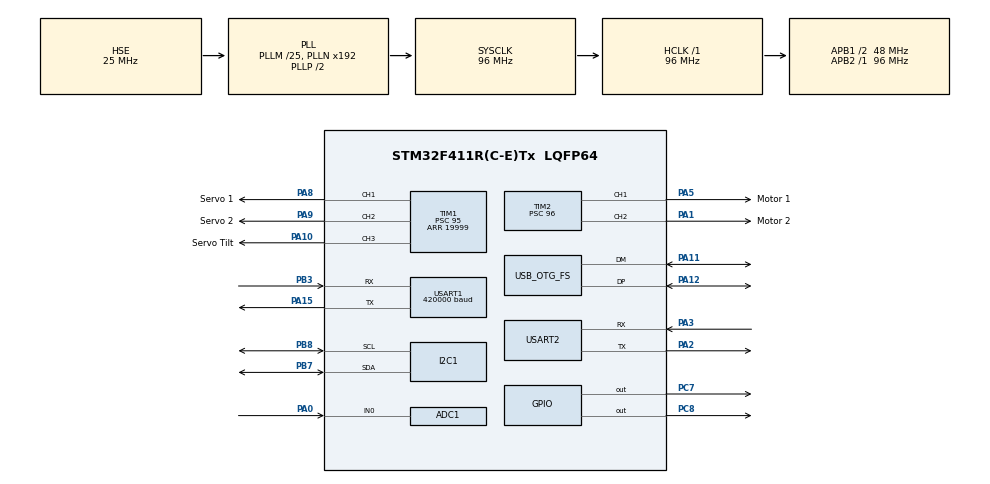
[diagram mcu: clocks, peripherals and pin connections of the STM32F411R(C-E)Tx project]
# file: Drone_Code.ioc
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ADC1.Channel-9\#ChannelRegularConversion=ADC_CHANNEL_0
ADC1.NbrOfConversionFlag=1
ADC1.Rank-9\#ChannelRegularConversion=1
ADC1.SamplingTime-9\#ChannelRegularConversion=ADC_SAMPLETIME_3CYCLES
ADC1.master=1
Dma.Request0=USART1_RX
Dma.USART1_RX.0.Direction=DMA_PERIPH_TO_MEMORY
Dma.USART1_RX.0.FIFOMode=DMA_FIFOMODE_DISABLE
Dma.USART1_RX.0.Instance=DMA2_Stream2
Dma.USART1_RX.0.MemDataAlignment=DMA_MDATAALIGN_BYTE
Dma.USART1_RX.0.MemInc=DMA_MINC_ENABLE
Dma.USART1_RX.0.Mode=DMA_CIRCULAR
Dma.USART1_RX.0.PeriphDataAlignment=DMA_PDATAALIGN_BYTE
Dma.USART1_RX.0.PeriphInc=DMA_PINC_DISABLE
Dma.USART1_RX.0.Priority=DMA_PRIORITY_LOW
FREERTOS.Tasks01=defaultTask,24,128,StartDefaultTask,Default,NULL,Dynamic,NULL,NULL
Mcu.Family=STM32F4
Mcu.Name=STM32F411R(C-E)Tx
Mcu.Package=LQFP64
NVIC.DMA2_Stream2_IRQn=true\:5\:0\:false\:false\:true\:true\:false\:true\:true
NVIC.OTG_FS_IRQn=true\:5\:0\:false\:false\:true\:true\:false\:true\:true
NVIC.PriorityGroup=NVIC_PRIORITYGROUP_4
NVIC.USART1_IRQn=true\:5\:0\:false\:false\:true\:true\:true\:true\:true
PA0-WKUP.Signal=ADCx_IN0
PA1.GPIO_Label=Motor 2
PA1.Signal=S_TIM2_CH2
PA10.GPIO_Label=Servo Tilt
PA10.Signal=S_TIM1_CH3
PA11.Mode=Device_Only
PA11.Signal=USB_OTG_FS_DM
PA12.Mode=Device_Only
PA12.Signal=USB_OTG_FS_DP
PA13.Mode=Serial_Wire
PA13.Signal=SYS_JTMS-SWDIO
PA14.Mode=Serial_Wire
PA14.Signal=SYS_JTCK-SWCLK
PA15.Mode=Asynchronous
PA15.Signal=USART1_TX
PA2.Mode=Asynchronous
PA2.Signal=USART2_TX
PA3.Mode=Asynchronous
PA3.Signal=USART2_RX
PA5.GPIO_Label=Motor 1
PA5.Signal=S_TIM2_CH1_ETR
PA8.GPIO_Label=Servo 1
PA8.Signal=S_TIM1_CH1
PA9.GPIO_Label=Servo 2
PA9.Signal=S_TIM1_CH2
PB3.Mode=Asynchronous
PB3.Signal=USART1_RX
PB7.Mode=I2C
PB7.Signal=I2C1_SDA
PB8.Mode=I2C
PB8.Signal=I2C1_SCL
PC7.Signal=GPIO_Output
PC8.Signal=GPIO_Output
PH0\ -\ OSC_IN.Mode=HSE-External-Oscillator
PH0\ -\ OSC_IN.Signal=RCC_OSC_IN
PH1\ -\ OSC_OUT.Mode=HSE-External-Oscillator
PH1\ -\ OSC_OUT.Signal=RCC_OSC_OUT
ProjectManager.HeapSize=0x200
ProjectManager.StackSize=0x400
ProjectManager.TargetToolchain=Makefile
RCC.48MHZClocksFreq_Value=48000000
RCC.AHBFreq_Value=96000000
RCC.APB1CLKDivider=RCC_HCLK_DIV2
RCC.APB1Freq_Value=48000000
RCC.APB1TimFreq_Value=96000000
RCC.APB2Freq_Value=96000000
RCC.APB2TimFreq_Value=96000000
RCC.CortexFreq_Value=96000000
RCC.HCLKFreq_Value=96000000
RCC.HSE_VALUE=25000000
RCC.HSI_VALUE=16000000
RCC.LSE_VALUE=32768
RCC.PLLM=25
RCC.SYSCLKFreq_VALUE=96000000
RCC.SYSCLKSource=RCC_SYSCLKSOURCE_PLLCLK
RCC.VCOOutputFreq_Value=192000000
SH.ADCx_IN0.0=ADC1_IN0,IN0
SH.S_TIM1_CH1.0=TIM1_CH1,PWM Generation1 CH1
SH.S_TIM1_CH2.0=TIM1_CH2,PWM Generation2 CH2
SH.S_TIM1_CH3.0=TIM1_CH3,PWM Generation3 CH3
SH.S_TIM2_CH1_ETR.0=TIM2_CH1,PWM Generation1 CH1
SH.S_TIM2_CH2.0=TIM2_CH2,PWM Generation2 CH2
TIM1.Channel-PWM\ Generation1\ CH1=TIM_CHANNEL_1
TIM1.Channel-PWM\ Generation2\ CH2=TIM_CHANNEL_2
TIM1.Channel-PWM\ Generation3\ CH3=TIM_CHANNEL_3
TIM1.Period=19999
TIM1.Prescaler=95
TIM2.Channel-PWM\ Generation1\ CH1=TIM_CHANNEL_1
TIM2.Channel-PWM\ Generation2\ CH2=TIM_CHANNEL_2
TIM2.Period=100
TIM2.Prescaler=96
USART1.BaudRate=420000
USART1.VirtualMode=VM_ASYNC
USART2.VirtualMode=VM_ASYNC
USB_DEVICE.CLASS_NAME_FS=CDC
USB_DEVICE.VirtualMode=Cdc
USB_DEVICE.VirtualModeFS=Cdc_FS
USB_OTG_FS.VirtualMode=Device_Only
VP_FREERTOS_VS_CMSIS_V2.Mode=CMSIS_V2
VP_TIM1_VS_ClockSourceINT.Mode=Internal
VP_TIM2_VS_ClockSourceINT.Mode=Internal
VP_USB_DEVICE_VS_USB_DEVICE_CDC_FS.Mode=CDC_FS
board=custom

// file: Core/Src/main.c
/* USER CODE BEGIN Header */
/**
  ******************************************************************************
  * @file           : main.c
  * @brief          : Main program body
  ******************************************************************************
  * @attention
  *
  * Copyright (c) 2026 STMicroelectronics.
  * All rights reserved.
  *
  * This software is licensed under terms that can be found in the LICENSE file
  * in the root directory of this software component.
  * If no LICENSE file comes with this software, it is provided AS-IS.
  *
  ******************************************************************************
  */
/* USER CODE END Header */
#include "main.h"
#include "cmsis_os.h"
#include "adc.h"
#include "dma.h"
#include "i2c.h"
#include "tim.h"
#include "usart.h"
#include "usb_device.h"
#include "gpio.h"

void SystemClock_Config(void);
void MX_FREERTOS_Init(void);

int main(void)
{

  /* MCU Configuration--------------------------------------------------------*/

  /* Reset of all peripherals, Initializes the Flash interface and the Systick. */
  HAL_Init();

  /* Configure the system clock */
  SystemClock_Config();

  /* Initialize all configured peripherals */
  MX_GPIO_Init();
  MX_DMA_Init();
  MX_ADC1_Init();
  MX_I2C1_Init();
  MX_USART1_UART_Init();
  MX_TIM1_Init();
  MX_TIM2_Init();
  MX_USART2_UART_Init();
  /* USER CODE BEGIN 2 */
  MX_USB_DEVICE_Init();
  /* USER CODE END 2 */

  /* Init scheduler */
  osKernelInitialize();  /* Call init function for freertos objects (in cmsis_os2.c) */
  MX_FREERTOS_Init();

  /* Start scheduler */
  osKernelStart();

  /* We should never get here as control is now taken by the scheduler */

  /* Infinite loop */
  while (1)
  {

  }
}

void SystemClock_Config(void)
{
  RCC_OscInitTypeDef RCC_OscInitStruct = {0};
  RCC_ClkInitTypeDef RCC_ClkInitStruct = {0};

  /** Configure the main internal regulator output voltage
  */
  __HAL_RCC_PWR_CLK_ENABLE();
  __HAL_PWR_VOLTAGESCALING_CONFIG(PWR_REGULATOR_VOLTAGE_SCALE1);

  /** Initializes the RCC Oscillators according to the specified parameters
  * in the RCC_OscInitTypeDef structure.
  */
  RCC_OscInitStruct.OscillatorType = RCC_OSCILLATORTYPE_HSE;
  RCC_OscInitStruct.HSEState = RCC_HSE_ON;
  RCC_OscInitStruct.PLL.PLLState = RCC_PLL_ON;
  RCC_OscInitStruct.PLL.PLLSource = RCC_PLLSOURCE_HSE;
  RCC_OscInitStruct.PLL.PLLM = 25;
  RCC_OscInitStruct.PLL.PLLN = 192;
  RCC_OscInitStruct.PLL.PLLP = RCC_PLLP_DIV2;
  RCC_OscInitStruct.PLL.PLLQ = 4;
  if (HAL_RCC_OscConfig(&RCC_OscInitStruct) != HAL_OK)
  {
    Error_Handler();
  }

  /** Initializes the CPU, AHB and APB buses clocks
  */
  RCC_ClkInitStruct.ClockType = RCC_CLOCKTYPE_HCLK|RCC_CLOCKTYPE_SYSCLK
                              |RCC_CLOCKTYPE_PCLK1|RCC_CLOCKTYPE_PCLK2;
  RCC_ClkInitStruct.SYSCLKSource = RCC_SYSCLKSOURCE_PLLCLK;
  RCC_ClkInitStruct.AHBCLKDivider = RCC_SYSCLK_DIV1;
  RCC_ClkInitStruct.APB1CLKDivider = RCC_HCLK_DIV2;
  RCC_ClkInitStruct.APB2CLKDivider = RCC_HCLK_DIV1;

  if (HAL_RCC_ClockConfig(&RCC_ClkInitStruct, FLASH_LATENCY_3) != HAL_OK)
  {
    Error_Handler();
  }
}

void Error_Handler(void)
{
  __disable_irq();
  while (1)
  {
  }
}

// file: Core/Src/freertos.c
/* USER CODE BEGIN Header */
/**
  ******************************************************************************
  * File Name          : freertos.c
  * Description        : Code for freertos applications
  ******************************************************************************
  * @attention
  *
  * Copyright (c) 2026 STMicroelectronics.
  * All rights reserved.
  *
  * This software is licensed under terms that can be found in the LICENSE file
  * in the root directory of this software component.
  * If no LICENSE file comes with this software, it is provided AS-IS.
  *
  ******************************************************************************
  */
/* USER CODE END Header */

#include "FreeRTOS.h"
#include "stm32f4xx_hal.h"
#include "task.h"
#include "main.h"
#include "cmsis_os.h"

/* USER CODE BEGIN Includes */
#include <string.h>
#include <stdio.h>
#include "tim.h"
#include "usbd_cdc_if.h"
#include "crsf.h"
#include "motor_control.h"
#include <stdarg.h>
#include "icm42605.h"
#include "mmc5603nj.h"
#include "imu_math.h"
#include "lpf.h"
/* USER CODE END Includes */

/* USER CODE BEGIN PD */
// Define fixed update period (e.g., 2ms = 500 Hz loop)
#define IMU_TASK_FREQ      200 // Hz
#define IMU_TASK_PERIOD_MS (1000 / IMU_TASK_FREQ) // 5 ms
#define DT_SECONDS         (1.0f / (float)IMU_TASK_FREQ) // 0.005f seconds

#define RED_LED_PIN    GPIO_PIN_7
#define GREEN_LED_PIN  GPIO_PIN_8
#define LED_PORT       GPIOC

#define MAX_PITCH 30 // degrees absolute value so -30 to 30
#define MAX_ROLL 30  // degrees absolute value so -30 to 30
#define MAX_YAW 200    // degrees per second

#define LPF_CUTOFF 25.0f
/* USER CODE END PD */

/* USER CODE BEGIN Variables */
osThreadId_t receiverTaskHandle;
const osThreadAttr_t receiverTask_attributes = {
  .name = "receiverTask",
  .stack_size = 1024 * 4,
  .priority = (osPriority_t) osPriorityNormal,
};

osThreadId_t servoTaskHandle;
const osThreadAttr_t servoTask_attributes = {
  .name = "servoTask",
  .stack_size = 128 * 4,
  .priority = (osPriority_t) osPriorityNormal,
};

osThreadId_t imuTaskHandle;
const osThreadAttr_t imuTask_attributes = {
  .name = "imuTask",
  .stack_size = 512 * 4,
  .priority = (osPriority_t) osPriorityNormal, // Elevated to prevent priority inversion
};

osThreadId_t pidTaskHandle;
const osThreadAttr_t pidTask_attributes = {
  .name = "pidTask",
  .stack_size = 512 * 4,
  .priority = (osPriority_t) osPriorityNormal, // High priority for deterministic control
};

osMessageQueueId_t imuAttitudeQueueHandle;
osMessageQueueId_t rcCommandQueueHandle;

// Struct for normalized RC Pilot Commands (-1.0 to 1.0 or target angles)
typedef struct {
    float roll_setpoint;     // Target Roll angle (degrees)
    float pitch_setpoint;    // Target Pitch angle (degrees)
    float yaw_rate_setpoint; // Target Yaw rate (deg/s)
    float throttle;          // 0.0 to 1.0 (0% to 100% thrust)
    float yaw_kp;
    uint8_t armed;           // Safety switch state
} ControlSetpoint_t;

volatile uint32_t g_last_rc_tick = 0;

#define RC_FAILSAFE_TIMEOUT_MS 500U

volatile uint32_t g_uart_error_count = 0;
volatile uint32_t g_mag_error_count = 0;

#define ROLL_TRIM_TICKS -100
#define PITCH_TRIM_TICKS 0

#define ROLL_KP   9.0f
#define ROLL_KI   0.5f
#define ROLL_KD   0.0f

#define PITCH_KP  9.0f
#define PITCH_KI  0.5f
#define PITCH_KD  0.0f

#define YAW_KP    2.5f
#define YAW_KI    0.5f
#define YAW_KD    0.1f

#define SERVO_PID_OUTPUT_LIMIT  1000.0f
#define YAW_PID_OUTPUT_LIMIT    1200.0f

#define ESC_MIN_PCT_DEFAULT 0.10f
volatile float g_esc_min_pct = ESC_MIN_PCT_DEFAULT;

typedef struct
{
    float kp;
    float ki;
    float kd;
    float integral;
    float prev_error;
    float output_limit;
    uint8_t initialized;
} PID_Controller_t;

extern UART_HandleTypeDef huart1;
extern DMA_HandleTypeDef hdma_usart1_rx;

extern ADC_HandleTypeDef hadc1;

uint8_t uart_rx_buffer[64];
volatile uint16_t uart_rx_flag = 0;

volatile uint32_t g_shared_voltage_mv = 0;
volatile uint8_t g_shared_battery_pct = 0;

volatile float g_yaw_trim = 5.0f; // Trim adjustment between -1.0 and 1.0 to balance motor

extern TIM_HandleTypeDef htim1, htim2;  // Defined in tim.c

extern I2C_HandleTypeDef hi2c1;

ICM42605_t g_imu;
MMC5603NJ_t g_mag;
IMU_Attitude_t g_attitude;

char usb_output_buffer[256];

Motor spitch, sroll, rotorup, rotordown; // RotorUp is CCW, RotorDown is CW
/* USER CODE END Variables */
/* Definitions for defaultTask */
osThreadId_t defaultTaskHandle;
const osThreadAttr_t defaultTask_attributes = {
  .name = "defaultTask",
  .stack_size = 512 * 4,
  .priority = (osPriority_t) osPriorityNormal,
};

/* USER CODE BEGIN FunctionPrototypes */
void StartReceiverTask(void *argument);
void StartServoTask(void *argument);
void startImuTask(void *argument);
void usb_send(const char *format, ...);
void StartPidTask(void *argument);
static float map_float(float x, float in_min, float in_max, float out_min, float out_max);
static float pid_compute(PID_Controller_t *pid, float error, float dt);
static void pid_init(PID_Controller_t *pid, float kp, float ki, float kd, float output_limit);
/* USER CODE END FunctionPrototypes */

void StartDefaultTask(void *argument);

extern void MX_USB_DEVICE_Init(void);
void MX_FREERTOS_Init(void); /* (MISRA C 2004 rule 8.1) */

void MX_FREERTOS_Init(void) {
  /* USER CODE BEGIN Init */
  MX_USB_DEVICE_Init();
  /* USER CODE END Init */

  /* USER CODE BEGIN RTOS_QUEUES */
  // Queue depth = 1 (holds only the latest attitude calculation)
  imuAttitudeQueueHandle = osMessageQueueNew(1, sizeof(IMU_Attitude_t), NULL);

  // Queue holding only the latest 1 RC Setpoint (length = 1)
  rcCommandQueueHandle = osMessageQueueNew(1, sizeof(ControlSetpoint_t), NULL);
  /* USER CODE END RTOS_QUEUES */

  /* Create the thread(s) */
  /* creation of defaultTask */
  defaultTaskHandle = osThreadNew(StartDefaultTask, NULL, &defaultTask_attributes);

  /* USER CODE BEGIN RTOS_THREADS */
  receiverTaskHandle = osThreadNew(StartReceiverTask, NULL, &receiverTask_attributes);
  servoTaskHandle = osThreadNew(StartServoTask, NULL, &servoTask_attributes);
  imuTaskHandle = osThreadNew(startImuTask, NULL, &imuTask_attributes);
  pidTaskHandle = osThreadNew(StartPidTask, NULL, &pidTask_attributes);
  /* USER CODE END RTOS_THREADS */

}

void StartDefaultTask(void *argument)
{
  osDelay(2500); // Wait for USB enumeration
  uint32_t lastBlinkTick = osKernelGetTickCount();

  // Ensure LEDs start OFF by default (HIGH for active-low)
  HAL_GPIO_WritePin(LED_PORT, RED_LED_PIN, GPIO_PIN_SET);
  HAL_GPIO_WritePin(LED_PORT, GREEN_LED_PIN, GPIO_PIN_SET);

  /* Infinite loop */
  for(;;)
  {
    HAL_ADC_Start(&hadc1);
    if (HAL_ADC_PollForConversion(&hadc1, 10) == HAL_OK)
    {
      uint32_t adc_value = HAL_ADC_GetValue(&hadc1);

      float battery_voltage = ((float)adc_value / 4095.0f) * 3.3f * (133.0f / 33.0f);
      uint32_t voltage_mv = (uint32_t)(battery_voltage * 1000.0f);

      usb_send("Battery Voltage: %lu.%luV (ADC: %lu)\r\n", voltage_mv / 1000, voltage_mv % 1000, adc_value);

      uint8_t battery_pct = 0;

      if (voltage_mv >= 12600) {
        battery_pct = 100;
      } else if (voltage_mv <= 10000) {
        battery_pct = 0;
      } else {
        battery_pct = (uint8_t)(((float)(voltage_mv - 10000.0f) / (12600.0f - 10000.0f)) * 100.0f);
      }

      g_shared_voltage_mv = voltage_mv;
      g_shared_battery_pct = battery_pct;

      // Warning threshold set directly to 11.0V (11000 mV)
      if (voltage_mv < 11000) {
        if ((osKernelGetTickCount() - lastBlinkTick) >= 250) {
          HAL_GPIO_TogglePin(LED_PORT, RED_LED_PIN);
          lastBlinkTick = osKernelGetTickCount();
        }
      } else {
        // Voltage is safe: force Red LED completely OFF (SET = HIGH = OFF)
        HAL_GPIO_WritePin(LED_PORT, RED_LED_PIN, GPIO_PIN_SET);
        lastBlinkTick = osKernelGetTickCount();
      }
    }
    HAL_ADC_Stop(&hadc1);

    osDelay(1000);
  }
}

/* USER CODE BEGIN Application */
void StartServoTask(void *argument)
{
  // Initialize servos
  motor_Init(&spitch, SERVO_MID_PULSE_TICKS + PITCH_TRIM_TICKS, SERVO_MIN_PULSE_TICKS + PITCH_TRIM_TICKS, SERVO_MAX_PULSE_TICKS + PITCH_TRIM_TICKS, &htim1, TIM_CHANNEL_1);
  motor_Init(&sroll, SERVO_MID_PULSE_TICKS + ROLL_TRIM_TICKS, SERVO_MIN_PULSE_TICKS + ROLL_TRIM_TICKS, SERVO_MAX_PULSE_TICKS + ROLL_TRIM_TICKS, &htim1, TIM_CHANNEL_2);

  // Initialize ESCs
  motor_Init(&rotorup, ESC_MIN_PULSE_TICKS, ESC_MIN_PULSE_TICKS, ESC_MAX_PULSE_TICKS, &htim2, TIM_CHANNEL_1);
  motor_Init(&rotordown,  ESC_MIN_PULSE_TICKS, ESC_MIN_PULSE_TICKS, ESC_MAX_PULSE_TICKS, &htim2, TIM_CHANNEL_2);

  motor_Start(&spitch);
  motor_Start(&sroll);
  motor_Start(&rotorup);
  motor_Start(&rotordown);

  for (;;) {
      osDelay(1000);
  }
}

void StartReceiverTask(void *argument)
{
    crsf_frame_t crsf_frame;
    crsf_rc_channels_packed_t rc_channels;
    uint32_t last_green_toggle_tick = 0;
    static uint32_t telemetry_counter = 0;

    osDelay(3000);
    usb_send("Receiver task started and active\r\n");

    // Green LED OFF
    HAL_GPIO_WritePin(LED_PORT, GREEN_LED_PIN, GPIO_PIN_SET);

    // Start UART DMA reception
    HAL_StatusTypeDef uart_status = HAL_UARTEx_ReceiveToIdle_DMA(&huart1, uart_rx_buffer, sizeof(uart_rx_buffer));
    __HAL_DMA_DISABLE_IT(&hdma_usart1_rx, DMA_IT_HT);

    if (uart_status != HAL_OK)
    {
        usb_send("ERROR: Initial UART RX start failed: %d\r\n", uart_status);
    }

    g_last_rc_tick = osKernelGetTickCount();

    for (;;)
    {
        uint32_t notificationValue = ulTaskNotifyTake(pdTRUE, pdMS_TO_TICKS(100));

        uint32_t now = osKernelGetTickCount();
        if ((now - g_last_rc_tick) > pdMS_TO_TICKS(RC_FAILSAFE_TIMEOUT_MS))
        {
            HAL_GPIO_WritePin(LED_PORT, GREEN_LED_PIN, GPIO_PIN_SET);
            last_green_toggle_tick = 0;
        }

        if ((notificationValue > 0) && (uart_rx_flag > 0))
        {
            uint16_t rx_size = uart_rx_flag;
            uart_rx_flag = 0;

            // Inside StartReceiverTask loop:
            if (huart1.RxState != HAL_UART_STATE_READY)
            {
                HAL_UART_AbortReceive(&huart1);
            }

            uart_status = HAL_UARTEx_ReceiveToIdle_DMA(&huart1, uart_rx_buffer, sizeof(uart_rx_buffer));
            __HAL_DMA_DISABLE_IT(&hdma_usart1_rx, DMA_IT_HT);

            if (uart_status != HAL_OK)
            {
                usb_send("ERROR: UART RX restart failed: %d\r\n", uart_status);
            }

            if (crsf_parse_frame(uart_rx_buffer, rx_size, &crsf_frame))
            {
                g_last_rc_tick = osKernelGetTickCount();

                if ((g_last_rc_tick - last_green_toggle_tick) >= pdMS_TO_TICKS(250))
                {
                    HAL_GPIO_TogglePin(LED_PORT, GREEN_LED_PIN);
                    last_green_toggle_tick = g_last_rc_tick;
                }

                telemetry_counter++;
                if (telemetry_counter >= 64)
                {
                    telemetry_counter = 0;
                    uint8_t tx_buf[16];
                    uint8_t tx_size = 0;

                    if (crsf_generate_battery_frame((uint16_t)g_shared_voltage_mv, 0, 0, g_shared_battery_pct, tx_buf, &tx_size))
                    {
                        HAL_UART_Transmit(&huart1, tx_buf, tx_size, 10);
                    }
                }

                if (crsf_frame.frame_type == CRSF_FRAME_RC_CHANNELS_PACKED)
                {
                    if (crsf_extract_rc_channels(&crsf_frame, &rc_channels))
                    {
                        ControlSetpoint_t new_cmd;

                        new_cmd.roll_setpoint = map_float((float)rc_channels.channel_01, 172.0f, 1811.0f, -(float)MAX_ROLL, (float)MAX_ROLL);
                        new_cmd.pitch_setpoint = map_float((float)rc_channels.channel_02, 172.0f, 1811.0f, -(float)MAX_PITCH, (float)MAX_PITCH);
                        new_cmd.throttle = map_float((float)rc_channels.channel_03, 172.0f, 1811.0f, 0.0f, 1.0f);
                        new_cmd.yaw_rate_setpoint = map_float((float)rc_channels.channel_04, 172.0f, 1811.0f, (float)MAX_YAW, -(float)MAX_YAW);

                        new_cmd.yaw_kp = map_float((float)rc_channels.channel_10, 172.0f, 1811.0f, 0.0f, 10.0f);

                        new_cmd.armed = (rc_channels.channel_07 > 1500) ? 1 : 0;

                        if (osMessageQueuePut(rcCommandQueueHandle, &new_cmd, 0, 0) != osOK)
                        {
                            ControlSetpoint_t discarded;
                            osMessageQueueGet(rcCommandQueueHandle, &discarded, NULL, 0);
                            osMessageQueuePut(rcCommandQueueHandle, &new_cmd, 0, 0);
                        }
                    }
                }
            }
        }
    }
}

void startImuTask(void *argument)
{
    osDelay(1000);
    usb_send("IMU Task: Starting hardware init...\r\n");

    // Initialize IMU
    int init_status = icm42605_init(&g_imu, &hi2c1, 0x69);
    if (init_status < 0)
    {
        usb_send("IMU Task Error: icm42605_init failed code %d\r\n", init_status);
        osThreadExit();
    }

    uint8_t id = 0;
    HAL_I2C_Mem_Read(&hi2c1, MMC5603NJ_I2C_ADDR, 0x39, I2C_MEMADD_SIZE_8BIT, &id, 1, 100);
    usb_send("MMC5603NJ Product ID: 0x%02X (expect 0x10)\r\n", id);
    // Initialize Magnetometer
    int mag_status = mmc5603nj_init(&g_mag, &hi2c1);
    osDelay(20);
    if (mag_status < 0)
    {
        usb_send("IMU Task Error: mmc5603nj_init failed code %d\r\n", mag_status);
    }

    usb_send("Sensors initialized successfully\r\n");

    // Initialize attitude filter
    imu_math_init(&g_attitude, 0.98f);

    // Fixed-rate timing
    TickType_t tick = xTaskGetTickCount();
    uint32_t print_counter = 0;

    for (;;)
    {
        tick += pdMS_TO_TICKS(IMU_TASK_PERIOD_MS);
        vTaskDelayUntil(&tick, pdMS_TO_TICKS(IMU_TASK_PERIOD_MS));

        // Read IMU and Magnetometer
        if (icm42605_get_agt(&g_imu) == 1)
        {
            mmc5603nj_read(&g_mag);

            if (mmc5603nj_read(&g_mag) != 1)
            {
                g_mag_error_count++;   // add as a static/file-scope counter
                // Optionally report once, not every loop:
                // usb_send("MMC5603NJ read failed\r\n");
            }

            // Update with 9-axis data
            imu_math_update(&g_attitude,
                            g_imu.acc[0], g_imu.acc[1], g_imu.acc[2],
                            g_imu.gyr[0], g_imu.gyr[1], g_imu.gyr[2],
                            g_mag.mag_x, g_mag.mag_y, g_mag.mag_z,
                            DT_SECONDS);

            // Debug output
            print_counter++;
            if (print_counter >= 100)
            {
                print_counter = 0;
                // usb_send("Roll: %d | Pitch: %d | Yaw: %d\r\n", (int)g_attitude.roll, (int)g_attitude.pitch, (int)g_attitude.yaw);
                usb_send("Yaw: %d | Mag X: %d | Mag Y: %d | Mag Z: %d\r\n",
         (int)g_attitude.yaw,
         (int)(g_mag.mag_x * 1000.0f),
         (int)(g_mag.mag_y * 1000.0f),
         (int)(g_mag.mag_z * 1000.0f));
            }

            // Send latest attitude
            if (osMessageQueuePut(imuAttitudeQueueHandle, &g_attitude, 0, 0) != osOK)
            {
                IMU_Attitude_t discarded;
                osMessageQueueGet(imuAttitudeQueueHandle, &discarded, NULL, 0);
                osMessageQueuePut(imuAttitudeQueueHandle, &g_attitude, 0, 0);
            }
        }
    }
}

void StartPidTask(void *argument)
{
    IMU_Attitude_t current_attitude;
    ControlSetpoint_t current_setpoint = {
        .roll_setpoint = 0.0f,
        .pitch_setpoint = 0.0f,
        .yaw_rate_setpoint = 0.0f,
        .throttle = 0.0f,
        .armed = 0
    };

    // PID controllers
    PID_Controller_t roll_pid;
    PID_Controller_t pitch_pid;
    PID_Controller_t yaw_pid;

    LPF_t yaw_gyro_lpf;
    lpf_init(&yaw_gyro_lpf, LPF_CUTOFF, DT_SECONDS);

    LPF_t roll_gyro_lpf;
    LPF_t pitch_gyro_lpf;
    lpf_init(&roll_gyro_lpf, LPF_CUTOFF, DT_SECONDS);
    lpf_init(&pitch_gyro_lpf, LPF_CUTOFF, DT_SECONDS);

    pid_init(&roll_pid, ROLL_KP, ROLL_KI, ROLL_KD, SERVO_PID_OUTPUT_LIMIT);
    pid_init(&pitch_pid, PITCH_KP, PITCH_KI, PITCH_KD, SERVO_PID_OUTPUT_LIMIT);
    pid_init(&yaw_pid, YAW_KP, YAW_KI, YAW_KD, YAW_PID_OUTPUT_LIMIT);

    // Safety state tracker: prevents arming if throttle is not at zero
    static uint8_t throttle_lockout = 0;
    uint8_t prev_armed_state = 0;

    // Heading lock state variables
    float target_heading = 0.0f;
    uint8_t heading_lock_active = 0;

    usb_send("PID Task started\r\n");

    for (;;)
    {
      static uint32_t actuator_divider = 0;
        // Wait for the newest IMU sample.
        if (osMessageQueueGet(imuAttitudeQueueHandle, &current_attitude, NULL, portMAX_DELAY) != osOK)
        {
            continue;
        }

        // Get newest RC command
        osMessageQueueGet(rcCommandQueueHandle, &current_setpoint, NULL, 0);

        // yaw_pid.kp = current_setpoint.yaw_kp;

        // HARD RC FAILSAFE
        uint32_t now = osKernelGetTickCount();
        if ((now - g_last_rc_tick) > pdMS_TO_TICKS(RC_FAILSAFE_TIMEOUT_MS))
        {
            current_setpoint.armed = 0;
            current_setpoint.throttle = 0.0f;
            current_setpoint.roll_setpoint = 0.0f;
            current_setpoint.pitch_setpoint = 0.0f;
            current_setpoint.yaw_rate_setpoint = 0.0f;
        }

        // Check for transition from disarmed to armed with throttle > 0%
        if (current_setpoint.armed && !prev_armed_state)
        {
            if (current_setpoint.throttle > 0.01f)
            {
                throttle_lockout = 1;
                usb_send("SAFETY CATCH: Arming blocked! Lower throttle to 0%% first.\r\n");
            }
        }

        // Clear lockout once the throttle is brought down to zero while armed
        if (throttle_lockout && (current_setpoint.throttle <= 0.01f))
        {
            throttle_lockout = 0;
            usb_send("Safety catch cleared: throttle is at zero.\r\n");
        }

        prev_armed_state = current_setpoint.armed;

        // Force disarmed state if lockout is active or switch is off
        if (!current_setpoint.armed || throttle_lockout)
        {
            motor_SetPulse(&rotorup, ESC_MIN_PULSE_TICKS);
            motor_SetPulse(&rotordown, ESC_MIN_PULSE_TICKS);
            motor_SetPulse(&spitch, SERVO_MID_PULSE_TICKS);
            motor_SetPulse(&sroll, SERVO_MID_PULSE_TICKS);
            // Reset PID state.
            roll_pid.integral = 0.0f;
            pitch_pid.integral = 0.0f;
            yaw_pid.integral = 0.0f;
            roll_pid.prev_error = 0.0f;
            pitch_pid.prev_error = 0.0f;
            yaw_pid.prev_error = 0.0f;
            roll_pid.initialized = 0;
            pitch_pid.initialized = 0;
            yaw_pid.initialized = 0;

            heading_lock_active = 0; // Reset heading lock when disarmed

            continue;
        }

        // Calculate attitude errors for Proportional term
        float roll_error = current_setpoint.roll_setpoint - current_attitude.roll;
        float pitch_error = current_setpoint.pitch_setpoint - current_attitude.pitch;

        // Filter roll and pitch gyros for the D-term
        float filtered_roll_gyro = lpf_update(&roll_gyro_lpf, g_imu.gyr[0]);
        float filtered_pitch_gyro = lpf_update(&pitch_gyro_lpf, g_imu.gyr[1]);

        float roll_correction = (ROLL_KP * roll_error) - (ROLL_KD * filtered_roll_gyro);
        float pitch_correction = (PITCH_KP * pitch_error) - (PITCH_KD * filtered_pitch_gyro);

        float filtered_yaw_gyro = lpf_update(&yaw_gyro_lpf, g_imu.gyr[2]);

        // --- HYBRID HEADING HOLD LOGIC ---
        float yaw_error = 0.0f;

        // A small deadband (e.g., 5.0 deg/s) ensures slight stick noise doesn't break the lock
        if (current_setpoint.yaw_rate_setpoint > 5.0f || current_setpoint.yaw_rate_setpoint < -5.0f) {
            // Pilot is actively commanding yaw: use rate control
            yaw_error = current_setpoint.yaw_rate_setpoint - filtered_yaw_gyro;
            heading_lock_active = 0;
        } else {
            // Stick is centered: lock heading
            if (!heading_lock_active) {
                target_heading = current_attitude.yaw;
                heading_lock_active = 1;
            }

            // Calculate shortest path error (-180 to 180 degrees)
            float heading_error = target_heading - current_attitude.yaw;
            if (heading_error > 180.0f) heading_error -= 360.0f;
            if (heading_error < -180.0f) heading_error += 360.0f;

            // Outer loop maps angle error to a target turn rate.
            // 2.5f is the P-gain for the outer angle loop (tune as needed).
            float desired_correction_rate = heading_error * 2.5f;

            // Limit the maximum correction rate so it doesn't snap back too violently
            if (desired_correction_rate > 90.0f) desired_correction_rate = 90.0f;
            if (desired_correction_rate < -90.0f) desired_correction_rate = -90.0f;

            yaw_error = desired_correction_rate - filtered_yaw_gyro;
        }

        float yaw_correction = pid_compute(&yaw_pid, yaw_error, DT_SECONDS);
        // ---------------------------------

        // Calculate throttle bounds
        if (current_setpoint.throttle < 0.0f) current_setpoint.throttle = 0.0f;
        if (current_setpoint.throttle > 1.0f) current_setpoint.throttle = 1.0f;

        // Calculate minimum power ticks based on the global minimum motor speed percentage variable
        uint32_t esc_span = ESC_MAX_PULSE_TICKS - ESC_MIN_PULSE_TICKS;
        uint32_t esc_min_ticks = ESC_MIN_PULSE_TICKS + (uint32_t)(g_esc_min_pct * (float)esc_span);

        // Map throttle from [0.0, 1.0] to [esc_min_ticks, ESC_MAX_PULSE_TICKS]
        uint32_t active_esc_span = ESC_MAX_PULSE_TICKS - esc_min_ticks;
        uint32_t base_throttle_ticks = esc_min_ticks + (uint32_t)(current_setpoint.throttle * (float)active_esc_span);

        int32_t up_motor_ticks;
        int32_t down_motor_ticks;

        // FIX: Apply trim as a differential bias directly on the control/PID level
        // rather than shifting the raw base throttle ticks into the hardware rails.
        float trim_bias = g_yaw_trim * 25.0f; // Adjusted scale for balance

        // Symmetrical base throttle for both motors
        int32_t base_ticks = (int32_t)base_throttle_ticks;

        // Yaw motor mixing: Combine base throttle, PID yaw correction, and a protected trim bias
        int32_t up_raw   = base_ticks - (int32_t)yaw_correction - (int32_t)trim_bias;
        int32_t down_raw = base_ticks + (int32_t)yaw_correction + (int32_t)trim_bias;

        // Desaturation Logic: Preserves yaw differential authority when saturation occurs
        if (up_raw > (int32_t)ESC_MAX_PULSE_TICKS) {
            int32_t excess = up_raw - (int32_t)ESC_MAX_PULSE_TICKS;
            up_raw -= excess;
            down_raw -= excess;
        } else if (down_raw > (int32_t)ESC_MAX_PULSE_TICKS) {
            int32_t excess = down_raw - (int32_t)ESC_MAX_PULSE_TICKS;
            up_raw -= excess;
            down_raw -= excess;
        }

        if (up_raw < (int32_t)esc_min_ticks) {
            int32_t deficit = (int32_t)esc_min_ticks - up_raw;
            up_raw += deficit;
            down_raw += deficit;
        } else if (down_raw < (int32_t)esc_min_ticks) {
            int32_t deficit = (int32_t)esc_min_ticks - down_raw;
            up_raw += deficit;
            down_raw += deficit;
        }

        // Final hard safety clamp
        if (up_raw > (int32_t)ESC_MAX_PULSE_TICKS) up_raw = (int32_t)ESC_MAX_PULSE_TICKS;
        if (down_raw > (int32_t)ESC_MAX_PULSE_TICKS) down_raw = (int32_t)ESC_MAX_PULSE_TICKS;
        if (up_raw < (int32_t)esc_min_ticks) up_raw = (int32_t)esc_min_ticks;
        if (down_raw < (int32_t)esc_min_ticks) down_raw = (int32_t)esc_min_ticks;

        up_motor_ticks = up_raw;
        down_motor_ticks = down_raw;

        // Servo output
        // int32_t pitch_servo_ticks = SERVO_MID_PULSE_TICKS + (int32_t)pitch_correction;
        // int32_t roll_servo_ticks = SERVO_MID_PULSE_TICKS + (int32_t)roll_correction;

        int32_t pitch_servo_ticks = spitch.default_pulse_tick + (int32_t)pitch_correction;
        int32_t roll_servo_ticks = sroll.default_pulse_tick + (int32_t)roll_correction;

        // Clamp servos
        if (pitch_servo_ticks < (int32_t)SERVO_MIN_PULSE_TICKS) pitch_servo_ticks = SERVO_MIN_PULSE_TICKS;
        if (pitch_servo_ticks > (int32_t)SERVO_MAX_PULSE_TICKS) pitch_servo_ticks = SERVO_MAX_PULSE_TICKS;
        if (roll_servo_ticks < (int32_t)SERVO_MIN_PULSE_TICKS) roll_servo_ticks = SERVO_MIN_PULSE_TICKS;
        if (roll_servo_ticks > (int32_t)SERVO_MAX_PULSE_TICKS) roll_servo_ticks = SERVO_MAX_PULSE_TICKS;

        // Output actuators at 50 Hz (every 20 ms / 10 IMU loops)
        if (++actuator_divider >= 10)
        {
            actuator_divider = 0;
            motor_SetPulse(&rotorup, (uint32_t)up_motor_ticks);
            motor_SetPulse(&rotordown, (uint32_t)down_motor_ticks);
            motor_SetPulse(&spitch, (uint32_t)pitch_servo_ticks);
            motor_SetPulse(&sroll, (uint32_t)roll_servo_ticks);

            // --- SLOW ESC & MOTOR DEBUG PRINT (Once per second) ---
            static uint32_t esc_debug_counter = 0;
            if (++esc_debug_counter >= 50) // 50 * 20ms = 1 second
            {
                esc_debug_counter = 0;
                int throttle_pct = (int)(current_setpoint.throttle * 100.0f);
                int yaw_err_int = (int)yaw_error;

                usb_send("ESC Status -> Armed: %u | Throt: %d%% | Up Ticks: %ld | Down Ticks: %ld | Yaw Err: %d\r\n",
                         current_setpoint.armed,
                         throttle_pct,
                         (long)up_motor_ticks,
                         (long)down_motor_ticks,
                         yaw_err_int);
            }
            // -----------------------------------------------------
        }
    }
}

// This callback triggers automatically when data reception completes or line goes idle
void HAL_UARTEx_RxEventCallback(UART_HandleTypeDef *huart, uint16_t Size)
{
  if (huart->Instance == USART1) {
    uart_rx_flag = Size;
    BaseType_t xHigherPriorityTaskWoken = pdFALSE;

    // Wake up receiver task immediately
    vTaskNotifyGiveFromISR((TaskHandle_t)receiverTaskHandle, &xHigherPriorityTaskWoken);

    // Force context switch if receiver task has a higher priority
    portYIELD_FROM_ISR(xHigherPriorityTaskWoken);
  }
}

void usb_send(const char *format, ...) {
  char local_buffer[256];

  va_list args;
  va_start(args, format);
  int len = vsnprintf(local_buffer, sizeof(local_buffer), format, args);
  va_end(args);

  if (len <= 0) return;

  // Non-blocking transmission attempt: drops packet instantly if USB is busy
  CDC_Transmit_FS((uint8_t *)local_buffer, (uint16_t)len);
}

// PID computation function
static float pid_compute(PID_Controller_t *pid, float error, float dt)
{
    if (dt <= 0.0f) return 0.0f;

    // Proportional
    float p = pid->kp * error;

    // Derivative
    float derivative = 0.0f;

    // Prevent derivative kick on startup
    if (pid->initialized)
    {
      derivative = (error - pid->prev_error) / dt;
    }
    else
    {
      pid->initialized = 1;
    }
    float d = pid->kd * derivative;

    // Determine if we should integrate (Anti-Windup Check)
    // Only accumulate integral if we are not saturated in the direction of the error,
    // or if the error will help pull us out of saturation.
    int update_integral = 1;
    float tentative_output = p + (pid->ki * (pid->integral + (error * dt))) + d;

    if (tentative_output > pid->output_limit && error > 0.0f)
    {
        update_integral = 0; // Prevent winding up higher when stuck at upper limit
    }
    else if (tentative_output < -pid->output_limit && error < 0.0f)
    {
        update_integral = 0; // Prevent winding up lower when stuck at lower limit
    }

    if (update_integral && pid->ki != 0.0f)
    {
        pid->integral += error * dt;
    }

    float i = pid->ki * pid->integral;

    // Save error
    pid->prev_error = error;

    // Total output
    float output = p + i + d;

    // Output saturation clamping
    if (output > pid->output_limit)
    {
        output = pid->output_limit;
    }
    else if (output < -pid->output_limit)
    {
        output = -pid->output_limit;
    }

    return output;
}

static void pid_init(PID_Controller_t *pid, float kp, float ki, float kd, float output_limit)
{
    pid->kp = kp;
    pid->ki = ki;
    pid->kd = kd;
    pid->integral = 0.0f;
    pid->prev_error = 0.0f;
    pid->output_limit = output_limit;
    pid->initialized = 0;
}

// Helper function for linear mapping
static float map_float(float x, float in_min, float in_max, float out_min, float out_max)
{
    if (x < in_min) x = in_min;
    if (x > in_max) x = in_max;
    return (x - in_min) * (out_max - out_min) / (in_max - in_min) + out_min;
}

void HAL_UART_ErrorCallback(UART_HandleTypeDef *huart)
{
    if (huart->Instance == USART1)
    {
        g_uart_error_count++;

        // Abort any stuck state and clear error flags
        HAL_UART_AbortReceive(huart);

        // Restart IDLE line DMA reception
        HAL_StatusTypeDef status = HAL_UARTEx_ReceiveToIdle_DMA(huart, uart_rx_buffer, sizeof(uart_rx_buffer));
        __HAL_DMA_DISABLE_IT(&hdma_usart1_rx, DMA_IT_HT);

        if (status != HAL_OK)
        {
            // Optional debug print if restart fails
            usb_send("ERROR: UART Error Callback recovery failed: %d\r\n", status);
        }
    }
}
/* USER CODE END Application */
